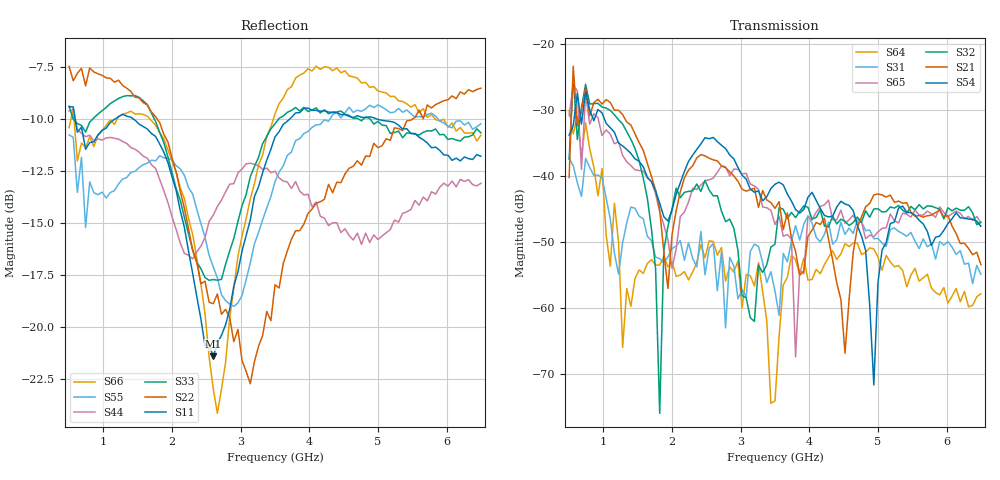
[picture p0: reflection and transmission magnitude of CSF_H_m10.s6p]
!Keysight Technologies,M9804A,MY58100912,A.14.10.03
!Date: Thursday, April 27, 2023 10:28:33
!Correction: S11(C  6-Port  )
!S12(C  6-Port  )
!S13(C  6-Port  )
!S14(C  6-Port  )
!S15(C  6-Port  )
!S16(C  6-Port  )
!S21(C  6-Port  )
!S22(C  6-Port  )
!S23(C  6-Port  )
!S24(C  6-Port  )
!S25(C  6-Port  )
!S26(C  6-Port  )
!S31(C  6-Port  )
!S32(C  6-Port  )
!S33(C  6-Port  )
!S34(C  6-Port  )
!S35(C  6-Port  )
!S36(C  6-Port  )
!S41(C  6-Port  )
!S42(C  6-Port  )
!S43(C  6-Port  )
!S44(C  6-Port  )
!S45(C  6-Port  )
!S46(C  6-Port  )
!S51(C  6-Port  )
!S52(C  6-Port  )
!S53(C  6-Port  )
!S54(C  6-Port  )
!S55(C  6-Port  )
!S56(C  6-Port  )
!S61(C  6-Port  )
!S62(C  6-Port  )
!S63(C  6-Port  )
!S64(C  6-Port  )
!S65(C  6-Port  )
!S66(C  6-Port  )
!S6P File: Measurement: :
# Hz S  RI  R 50
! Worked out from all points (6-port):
!   101 points, 500 MHz to 6.5 GHz, reference 50 ohm
!   strongest paths, dB at 500 MHz, 2 GHz, 3.5 GHz, 5 GHz, 6.5 GHz:
!     S54: -33.9, -45.2, -41.3, -56.3, -47.7
!     S21: -40.3, -48.9, -45.0, -42.8, -53.5
!     S32: -37.5, -45.0, -50.4, -45.0, -47.1
!     S65: -30.9, -54.0, -47.4, -48.5, -47.1
!     S31: -37.3, -51.1, -57.5, -49.5, -55.0
!     S64: -30.1, -53.0, -74.1, -52.3, -57.9
!   lowest |S11| = -21.4 dB at 2.6 GHz (marker M1), VSWR 1.19, Z = 42.4 + j2.2 ohm
!   |S11| at or under -10 dB: 588.7 MHz to 1.169 GHz (580.5 MHz wide, 66 % of centre); 1.437 GHz to 3.714 GHz (2.277 GHz wide, 88.4 % of centre); 4.983 GHz to end of sweep
